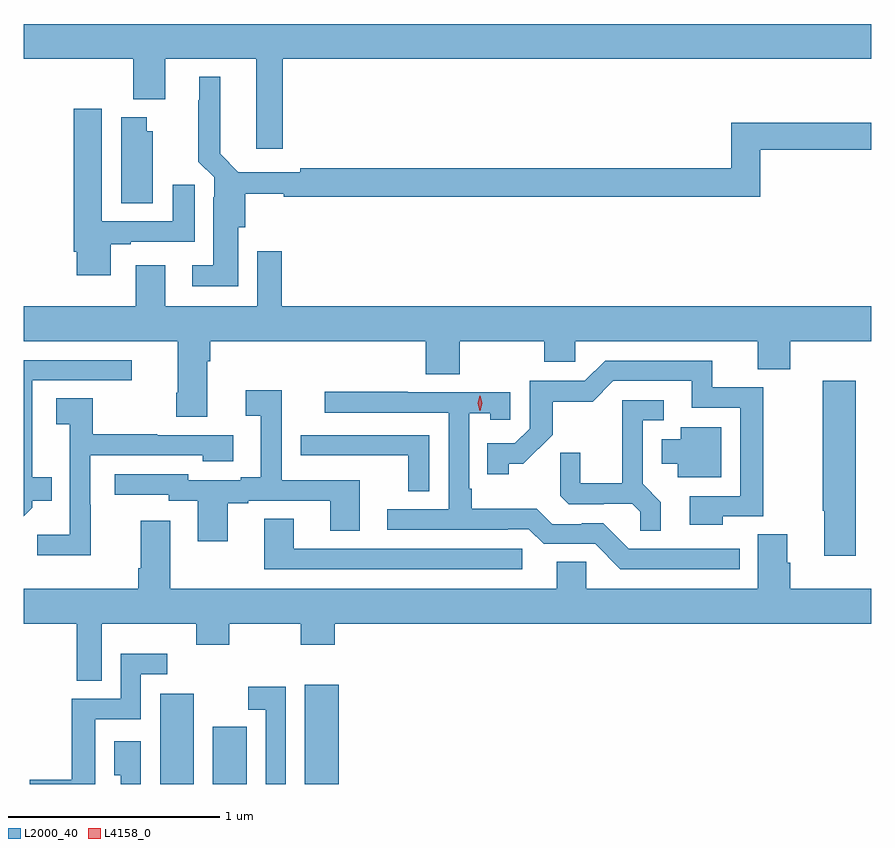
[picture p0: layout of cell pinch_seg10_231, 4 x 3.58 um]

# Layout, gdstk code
import gdstk
lib = gdstk.Library(unit=1e-6, precision=1e-09)
def R(c, l, rs):  # rectangles x0, y0, x1, y1
    for r in rs: c.add(gdstk.rectangle(r[:2], r[2:], *l))
def P(c, l, *ps):  # polygons
    for p in ps: c.add(gdstk.Polygon(p, *l))
L2000_40 = (2000, 40)
L4158_0 = (4158, 0)

pinch_seg10_231 = lib.new_cell('pinch_seg10_231')
R(pinch_seg10_231, L2000_40, [(612.878,1320.871,613.036,1321.297), (613.124,1320.871,613.285,1321.14), (613.559,1320.871,613.72,1321.339)])
P(pinch_seg10_231, L2000_40, [(613.454,1324.292),(616.232,1324.292),(616.232,1324.456),(612.232,1324.456),(612.232,1324.292),(612.749,1324.292),(612.749,1324.1),(612.901,1324.1),(612.901,1324.292),(613.331,1324.292),(613.331,1323.867),(613.454,1323.867)],
  [(613.246,1323.498),(613.277,1323.498),(613.277,1323.655),(613.46,1323.655),(613.46,1323.64),(615.707,1323.64),(615.707,1323.862),(616.232,1323.862),(616.232,1323.991),(615.571,1323.991),(615.571,1323.776),(613.537,1323.776),(613.537,1323.756),(613.246,1323.756),(613.159,1323.844),(613.159,1324.207),(613.061,1324.207),(613.061,1324.097),(613.057,1324.097),(613.057,1323.806),(613.131,1323.732),(613.131,1323.638),(613.127,1323.638),(613.127,1323.319),(613.029,1323.319),(613.029,1323.218),(613.246,1323.218)],
  [(612.643,1323.417),(612.739,1323.417),(612.739,1323.429),(613.039,1323.429),(613.039,1323.697),(612.935,1323.697),(612.935,1323.525),(612.601,1323.525),(612.601,1324.057),(612.47,1324.057),(612.47,1323.382),(612.482,1323.382),(612.482,1323.27),(612.643,1323.27)],
  [(612.841,1323.951),(612.814,1323.951),(612.814,1324.015),(612.692,1324.015),(612.692,1323.61),(612.841,1323.61)],
  [(613.099,1322.864),(613.112,1322.864),(613.112,1322.96),(614.129,1322.96),(614.129,1322.803),(614.289,1322.803),(614.289,1322.96),(614.689,1322.96),(614.689,1322.862),(614.835,1322.862),(614.835,1322.96),(615.695,1322.96),(615.695,1322.827),(615.848,1322.827),(615.848,1322.96),(616.232,1322.96),(616.232,1323.124),(613.451,1323.124),(613.451,1323.385),(613.335,1323.385),(613.335,1323.124),(612.901,1323.124),(612.901,1323.319),(612.761,1323.319),(612.761,1323.124),(612.232,1323.124),(612.232,1322.96),(612.959,1322.96),(612.959,1322.716),(612.952,1322.716),(612.952,1322.604),(613.099,1322.604)],
  [(612.273,1322.175),(612.273,1322.207),(612.365,1322.207),(612.365,1322.317),(612.274,1322.317),(612.274,1322.775),(612.742,1322.775),(612.742,1322.871),(612.232,1322.871),(612.232,1322.134)],
  [(615.531,1322.133),(615.721,1322.133),(615.721,1322.742),(615.482,1322.742),(615.482,1322.868),(614.976,1322.868),(614.88,1322.772),(614.619,1322.772),(614.619,1322.547),(614.55,1322.478),(614.419,1322.478),(614.419,1322.331),(614.52,1322.331),(614.52,1322.381),(614.59,1322.381),(614.728,1322.518),(614.728,1322.674),(614.917,1322.674),(615.015,1322.772),(615.383,1322.772),(615.383,1322.646),(615.612,1322.646),(615.612,1322.229),(615.375,1322.229),(615.375,1322.093),(615.531,1322.093)],
  [(616.157,1322.773),(616.003,1322.773),(616.003,1322.159),(616.01,1322.159),(616.01,1321.947),(616.157,1321.947)],
  [(613.195,1322.196),(613.291,1322.196),(613.291,1322.208),(613.679,1322.208),(613.679,1322.065),(613.819,1322.065),(613.819,1322.304),(613.449,1322.304),(613.449,1322.728),(613.281,1322.728),(613.281,1322.608),(613.352,1322.608),(613.352,1322.317),(613.256,1322.317),(613.256,1322.304),(613.008,1322.304),(613.008,1322.331),(612.663,1322.331),(612.663,1322.235),(612.918,1322.235),(612.918,1322.208),(613.055,1322.208),(613.055,1322.016),(613.195,1322.016)],
  [(615.61,1321.98),(615.087,1321.98),(614.967,1322.1),(614.866,1322.1),(614.866,1322.097),(614.727,1322.097),(614.654,1322.17),(614.347,1322.17),(614.347,1322.263),(614.334,1322.263),(614.334,1322.621),(614.433,1322.621),(614.433,1322.589),(614.529,1322.589),(614.529,1322.718),(614.045,1322.718),(614.045,1322.721),(613.653,1322.721),(613.653,1322.622),(614.238,1322.622),(614.238,1322.166),(613.947,1322.166),(613.947,1322.07),(614.516,1322.07),(614.516,1322.073),(614.616,1322.073),(614.685,1322.004),(614.928,1322.004),(615.048,1321.884),(615.61,1321.884)],
  [(612.549,1322.189),(612.546,1322.189),(612.546,1322.421),(613.077,1322.421),(613.077,1322.393),(613.222,1322.393),(613.222,1322.517),(612.863,1322.517),(612.863,1322.52),(612.559,1322.52),(612.559,1322.69),(612.387,1322.69),(612.387,1322.569),(612.45,1322.569),(612.45,1322.047),(612.297,1322.047),(612.297,1321.949),(612.549,1321.949)],
  [(615.239,1322.201),(615.153,1322.287),(615.153,1322.586),(615.253,1322.586),(615.253,1322.682),(615.056,1322.682),(615.056,1322.29),(614.858,1322.29),(614.858,1322.433),(614.764,1322.433),(614.764,1322.231),(614.805,1322.19),(614.97,1322.19),(614.97,1322.193),(615.104,1322.193),(615.141,1322.156),(615.141,1322.065),(615.239,1322.065)],
  [(615.523,1322.554),(615.332,1322.554),(615.332,1322.497),(615.242,1322.497),(615.242,1322.381),(615.317,1322.381),(615.317,1322.318),(615.523,1322.318)],
  [(614.145,1322.517),(613.539,1322.517),(613.539,1322.422),(613.651,1322.422),(613.651,1322.421),(614.047,1322.421),(614.047,1322.251),(614.145,1322.251)],
  [(614.584,1321.98),(613.507,1321.98),(613.507,1322.123),(613.367,1322.123),(613.367,1321.884),(614.584,1321.884)],
  [(612.601,1321.628),(613.048,1321.628),(613.048,1321.529),(613.203,1321.529),(613.203,1321.628),(613.54,1321.628),(613.54,1321.529),(613.7,1321.529),(613.7,1321.628),(616.232,1321.628),(616.232,1321.792),(615.848,1321.792),(615.848,1321.914),(615.835,1321.914),(615.835,1322.048),(615.695,1322.048),(615.695,1321.792),(614.886,1321.792),(614.886,1321.919),(614.747,1321.919),(614.747,1321.792),(612.925,1321.792),(612.925,1322.113),(612.785,1322.113),(612.785,1321.888),(612.773,1321.888),(612.773,1321.792),(612.232,1321.792),(612.232,1321.628),(612.483,1321.628),(612.483,1321.357),(612.601,1321.357)],
  [(612.571,1321.176),(612.786,1321.176),(612.786,1321.389),(612.91,1321.389),(612.91,1321.486),(612.69,1321.486),(612.69,1321.272),(612.46,1321.272),(612.46,1320.89),(612.262,1320.89),(612.262,1320.871),(612.571,1320.871)],
  [(613.47,1321.33),(613.293,1321.33),(613.293,1321.221),(613.374,1321.221),(613.374,1320.871),(613.47,1320.871)],
  [(612.786,1321.072),(612.659,1321.072),(612.659,1320.913),(612.69,1320.913),(612.69,1320.871),(612.786,1320.871)])
P(pinch_seg10_231, L4158_0, [(614.385,1322.631),(614.385,1322.631),(614.375,1322.667),(614.385,1322.702),(614.385,1322.703),(614.386,1322.702),(614.395,1322.667),(614.386,1322.631)])

lib.write_gds('pinch_seg10_231.gds')
